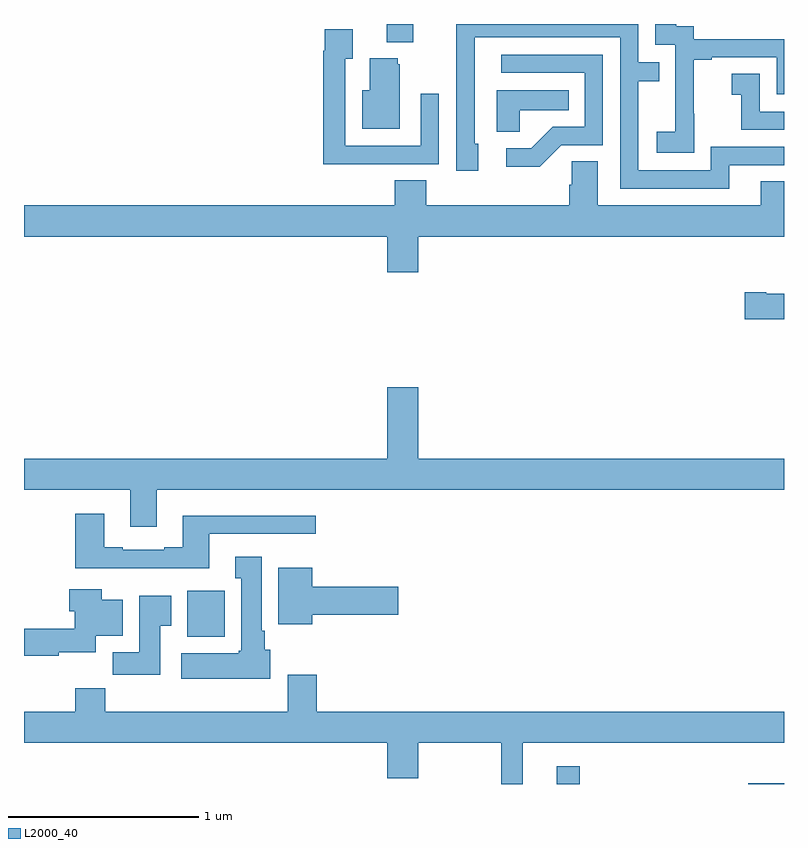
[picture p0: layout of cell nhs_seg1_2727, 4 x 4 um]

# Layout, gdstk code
import gdstk
lib = gdstk.Library(unit=1e-6, precision=1e-09)
def R(c, l, rs):  # rectangles x0, y0, x1, y1
    for r in rs: c.add(gdstk.rectangle(r[:2], r[2:], *l))
def P(c, l, *ps):  # polygons
    for p in ps: c.add(gdstk.Polygon(p, *l))
L2000_40 = (2000, 40)

nhs_seg1_2727 = lib.new_cell('nhs_seg1_2727')
R(nhs_seg1_2727, L2000_40, [(261.803,534.199,261.925,534.292), (262.812,534.199,263,534.202), (259.859,534.974,260.056,535.216), (260.909,538.103,261.049,538.199)])
P(nhs_seg1_2727, L2000_40, [(262.527,537.727),(262.526,537.727),(262.526,538.011),(262.621,538.011),(262.621,538.023),(262.962,538.023),(262.962,537.828),(263,537.828),(263,538.119),(262.524,538.119),(262.524,538.188),(262.432,538.188),(262.432,538.199),(262.323,538.199),(262.323,538.089),(262.428,538.089),(262.428,537.86),(262.427,537.86),(262.427,537.631),(262.329,537.631),(262.329,537.521),(262.527,537.521)],
  [(262.711,537.456),(263,537.456),(263,537.552),(262.614,537.552),(262.614,537.429),(262.233,537.429),(262.233,537.898),(262.343,537.898),(262.343,537.999),(262.233,537.999),(262.233,538.199),(261.274,538.199),(261.274,537.919),(261.276,537.919),(261.276,537.426),(261.391,537.426),(261.391,537.57),(261.372,537.57),(261.372,538.128),(262.137,538.128),(262.137,537.333),(262.711,537.333)],
  [(260.867,537.462),(261.183,537.462),(261.183,537.832),(261.087,537.832),(261.087,537.558),(260.691,537.558),(260.691,538.015),(260.731,538.015),(260.731,538.171),(260.583,538.171),(260.583,538.058),(260.575,538.058),(260.575,537.461),(260.867,537.461)],
  [(261.828,537.561),(262.047,537.561),(262.047,538.038),(261.513,538.038),(261.513,537.942),(261.951,537.942),(261.951,537.657),(261.782,537.657),(261.671,537.546),(261.537,537.546),(261.537,537.449),(261.715,537.449)],
  [(260.977,537.987),(260.966,537.987),(260.966,538.018),(260.819,538.018),(260.819,537.85),(260.78,537.85),(260.78,537.647),(260.977,537.647)],
  [(263,537.738),(262.872,537.738),(262.872,537.937),(262.725,537.937),(262.725,537.827),(262.774,537.827),(262.774,537.642),(263,537.642)],
  [(261.609,537.746),(261.866,537.746),(261.866,537.85),(261.488,537.85),(261.488,537.631),(261.609,537.631)],
  [(261.076,537.08),(263,537.08),(263,537.371),(262.877,537.371),(262.877,537.244),(262.021,537.244),(262.021,537.476),(261.882,537.476),(261.882,537.353),(261.869,537.353),(261.869,537.244),(261.116,537.244),(261.116,537.377),(260.951,537.377),(260.951,537.244),(259,537.244),(259,537.08),(260.912,537.08),(260.912,536.892),(261.076,536.892)],
  [(263,536.779),(262.906,536.779),(262.906,536.787),(262.794,536.787),(262.794,536.645),(263,536.645)],
  [(259.699,535.748),(263,535.748),(263,535.912),(261.076,535.912),(261.076,536.287),(260.912,536.287),(260.912,535.912),(259,535.912),(259,535.748),(259.559,535.748),(259.559,535.554),(259.699,535.554)],
  [(259.975,535.515),(260.536,535.515),(260.536,535.612),(259.835,535.612),(259.835,535.444),(259.739,535.444),(259.739,535.431),(259.519,535.431),(259.519,535.444),(259.423,535.444),(259.423,535.621),(259.271,535.621),(259.271,535.334),(259.975,535.334)],
  [(260.296,534.906),(260.266,534.906),(260.266,535.006),(260.251,535.006),(260.251,535.396),(260.111,535.396),(260.111,535.283),(260.144,535.283),(260.144,534.9),(260.131,534.9),(260.131,534.886),(259.827,534.886),(259.827,534.752),(260.296,534.752)],
  [(260.518,535.091),(260.971,535.091),(260.971,535.238),(260.518,535.238),(260.518,535.336),(260.339,535.336),(260.339,535.04),(260.518,535.04)],
  [(259.182,534.893),(259.378,534.893),(259.378,534.98),(259.519,534.98),(259.519,535.168),(259.408,535.168),(259.408,535.225),(259.238,535.225),(259.238,535.107),(259.268,535.107),(259.268,535.016),(259,535.016),(259,534.874),(259.182,534.874)],
  [(259.717,535.033),(259.774,535.033),(259.774,535.189),(259.607,535.189),(259.607,534.892),(259.468,534.892),(259.468,534.774),(259.717,534.774)],
  [(261.625,534.416),(263,534.416),(263,534.58),(260.54,534.58),(260.54,534.775),(260.387,534.775),(260.387,534.58),(259.427,534.58),(259.427,534.704),(259.271,534.704),(259.271,534.58),(259,534.58),(259,534.416),(260.912,534.416),(260.912,534.228),(261.076,534.228),(261.076,534.416),(261.511,534.416),(261.511,534.199),(261.625,534.199)])

lib.write_gds('nhs_seg1_2727.gds')
